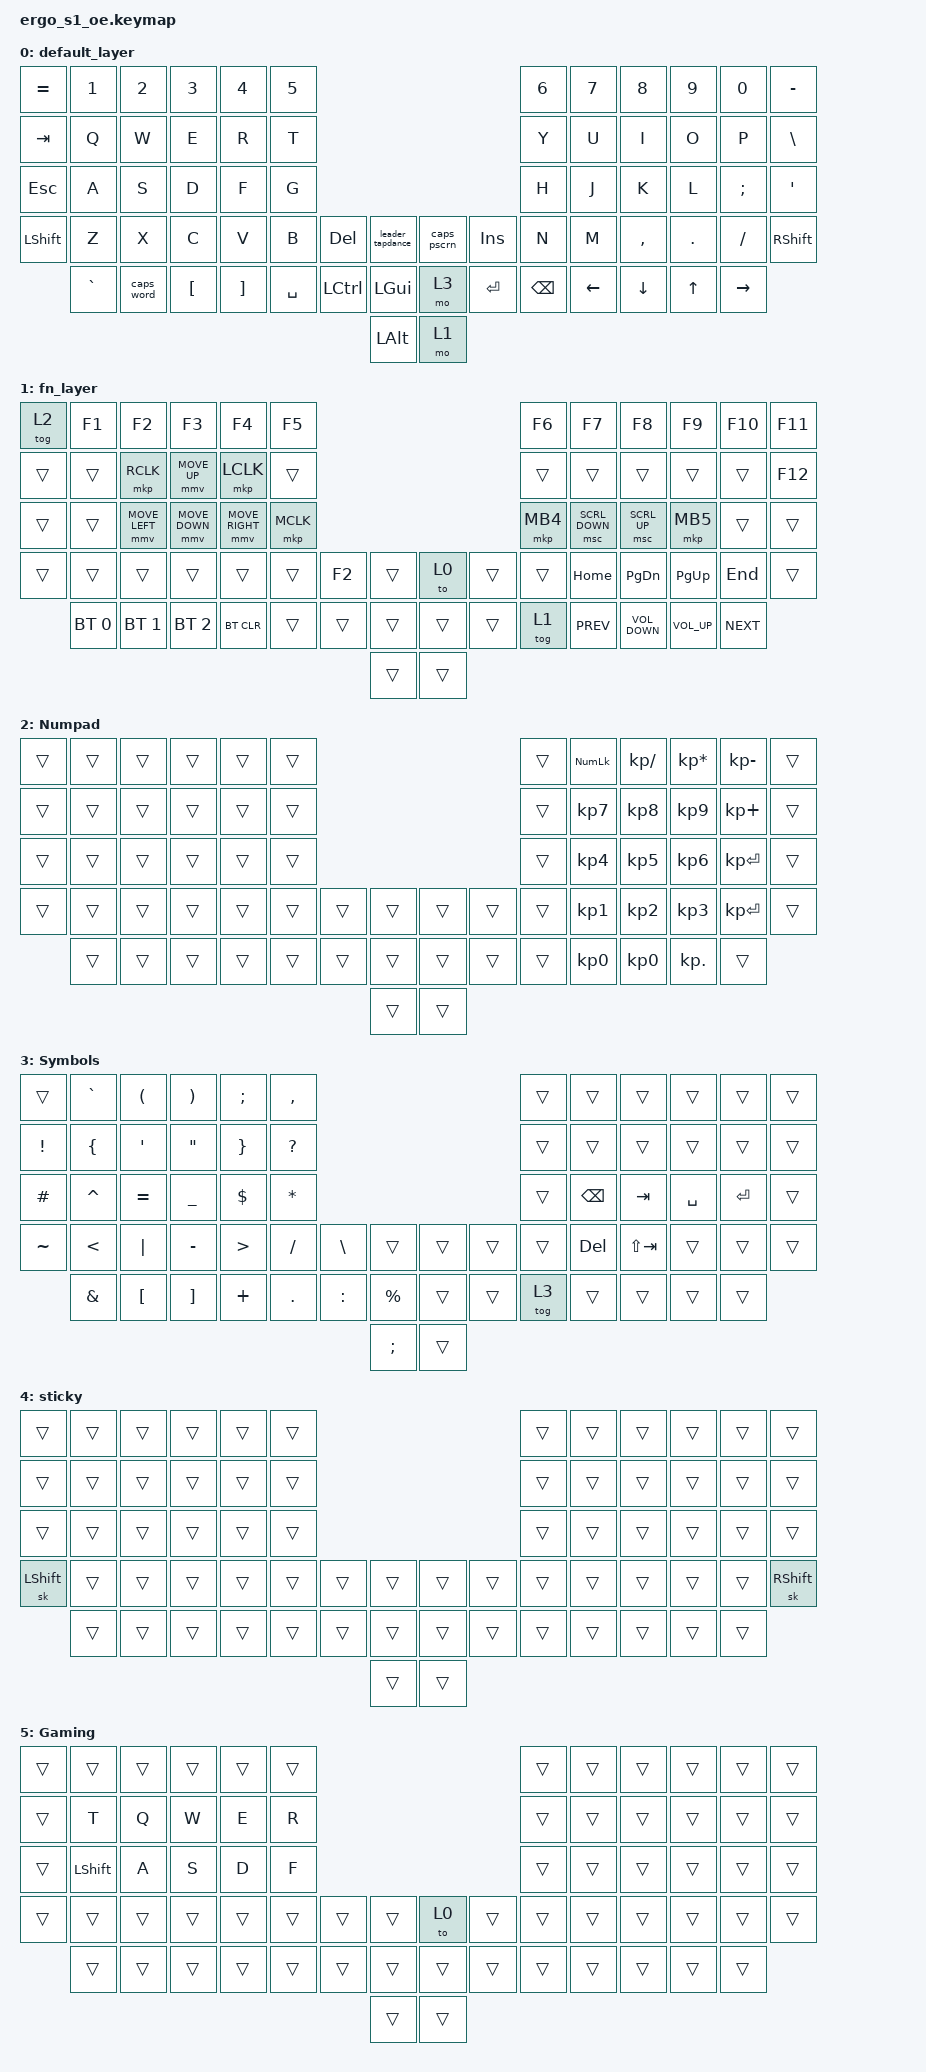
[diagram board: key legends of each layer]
/*
 * Copyright (c) 2021 The ZMK Contributors
 *
 * SPDX-License-Identifier: MIT
 */
//#include "leader.dtsi"

#define ZMK_POINTING_DEFAULT_MOVE_VAL 1500  // default: 600
#define ZMK_POINTING_DEFAULT_SCRL_VAL 20    // default: 10
#define DEFAULT 0
#define FN  1

#include <behaviors.dtsi>
#include <dt-bindings/zmk/bt.h>
#include <dt-bindings/zmk/keys.h>
#include <dt-bindings/zmk/pointing.h>
#include <dt-bindings/zmk/outputs.h>
#include "zmk-helpers/helper.h"

&sl {
    ignore-modifiers;
    release-after-ms = <5000>;
};

/ {
    macros {
        cdot: cdot {
            compatible = "zmk,behavior-macro";
            #binding-cells = <0>;
            bindings =
                <&macro_press>,
                <&kp LEFT_ALT>,
                <&macro_tap>,
                <&kp KP_NUMBER_2 &kp KP_NUMBER_5 &kp KP_NUMBER_0>,
                <&macro_release>,
                <&kp LEFT_ALT>;

            label = "CDOT";
        };

        mc_reload_pack: mc_reload_pack {
            compatible = "zmk,behavior-macro";
            #binding-cells = <0>;
            bindings =
                <&macro_press>,
                <&kp F3>,
                <&macro_tap>,
                <&kp T>,
                <&macro_release>,
                <&kp F3>;

            label = "Reload Resource Packs";
        };
    };

    behaviors {
        caps_pscrn: caps_pscrn {
            compatible = "zmk,behavior-tap-dance";
            label = "CAPS_PSCRN";
            #binding-cells = <0>;
            bindings = <&kp CAPS>, <&kp PRINTSCREEN>;

            tapping-term-ms = <200>;
        };

        leader: leader {
            compatible = "zmk,behavior-leader-key";
            #binding-cells = <0>;

            usb {
                sequence = <U S B>;
                bindings = <&out OUT_USB>;
            };

            ble {
                sequence = <B L E>;
                bindings = <&out OUT_BLE>;
            };

            bt0 {
                sequence = <B T N0>;
                bindings = <&bt BT_SEL 0>;
            };

            bt1 {
                sequence = <B T N1>;
                bindings = <&bt BT_SEL 1>;
            };

            bt2 {
                sequence = <B T N2>;
                bindings = <&bt BT_SEL 2>;
            };

            bt3 {
                sequence = <B T N3>;
                bindings = <&bt BT_SEL 3>;
            };

            bt4 {
                sequence = <B T N4>;
                bindings = <&bt BT_SEL 4>;
            };

            btc {
                sequence = <B T C L E A R>;
                bindings = <&bt BT_CLR>;
            };

            boot {
                sequence = <B O O T>;
                bindings = <&bootloader>;
            };

            reset {
                sequence = <R E S E T>;
                bindings = <&sys_reset>;
            };

            toggle_fn {
                sequence = <N1>;
                bindings = <&tog 1>;
            };  // Toggle function layer
            toggle_game {
                sequence = <G A M E>;
                bindings = <&tog 5>;
            };  // Toggle Gaming layer
            toggle_num {
                sequence = <N2>;
                bindings = <&tog 2>;
            };  // Toggle numpad layer
            toggle_stick {
                sequence = <S T I C K>;
                bindings = <&tog 4>;
            };  // Toggle sticky layer
            rename {
                sequence = <DELETE>;
                bindings = <&kp F2>;
            };  // Leader + DELETE outputs F2
            reload_resourcepack {
                sequence = <M C R>;
                bindings = <&mc_reload_pack>;
            };  // Reload Minecraft Resource Pack
        };

        leader_tapdance: leader_tapdance {
            compatible = "zmk,behavior-tap-dance";
            label = "LEADER_TAPDANCE";
            #binding-cells = <0>;
            bindings = <&leader>, <&to 0>;
        };
    };

    combos {
        compatible = "zmk,combos";

        Softoff {
            bindings = <&soft_off>;
            key-positions = <43 44>;
        };
    };

    keymap {
        compatible = "zmk,keymap";

        default_layer {
            // ---------------------------------------------------------------------------------------------------------------------------------
            // | ESC  |  1   |  2   |  3   |  4   |  5   |                                                   |  6   |  7   |  8   |  9   |  0   | BSPC |
            // | WIN  |  Q   |  W   |  E   |  R   |  T   |                                                   |  Y   |  U   |  I   |  O   |  P   | EQL  |
            // | TAB  |  A   |  S   |  D   |  F   |  G   |                                                   |  H   |  J   |  K   |  L   | SCLN | QUOT |
            // | LCTL |  Z   |  X   |  C   |  V   |  B   |      | CTL  | ALT  |         | CAPS | CTL  |      |  N   |  M   | COMM | DOT  | SLSH | MINS |
            //        | GRV  | BSLS | LEFT | RGHT |      | SHFT |  FN  | HOME |         | PGUP | ENT  | SPC  |      |  UP  |  DN  | LBKT | RBKT |
            //                                                         | END  |         | PGDN |

            bindings = <
&kp EQUAL  &kp N1     &kp N2      &kp N3    &kp N4    &kp N5                                                           &kp N6         &kp N7    &kp N8     &kp N9      &kp N0     &kp MINUS
&kp TAB    &kp Q      &kp W       &kp E     &kp R     &kp T                                                            &kp Y          &kp U     &kp I      &kp O       &kp P      &kp BSLH
&kp ESC    &kp A      &kp S       &kp D     &kp F     &kp G                                                            &kp H          &kp J     &kp K      &kp L       &kp SEMI   &kp APOS
&kp LSHFT  &kp Z      &kp X       &kp C     &kp V     &kp B      &kp DEL    &leader_tapdance  &caps_pscrn  &kp INSERT  &kp N          &kp M     &kp COMMA  &kp PERIOD  &kp SLASH  &kp RIGHT_SHIFT
           &kp GRAVE  &caps_word  &kp LBKT  &kp RBKT  &kp SPACE  &kp LCTRL  &kp LEFT_GUI      &mo 3        &kp ENTER   &kp BACKSPACE  &kp LEFT  &kp DOWN   &kp UP      &kp RIGHT
                                                                            &kp LALT          &mo 1
            >;
        };

        fn_layer {
            // ---------------------------------------------------------------------------------------------------------------------------------
            // |BT_CLR|  F1  |  F2  |  F3  |  F4  |  F5  |                                                   |      | NLCK |  =   |  /   |  *   |      |
            // |      |  F6  |  F7  |  F8  |  F9  |  F10 |                                                   |      |  7   |  8   |  9   |  -   |      |
            // |      |      |      |      |      |      |                                                   |      |  4   |  5   |  6   |  +   |      |
            // |      |      |      |      |      | PTSC |      |      |      |         |      |      |      |      |  1   |  2   |  3   | ENT  |      |
            //        |      | INS  |      |      |      |      |  FN  |      |         |      |      |      |      |      |      |  .   | ENT  |
            //                                                         |      |         |      |

            bindings = <
&tog 2  &kp F1        &kp F2          &kp F3          &kp F4           &kp F5                                     &kp F6    &kp F7          &kp F8             &kp F9        &kp F10     &kp F11
&trans  &trans        &mkp RCLK       &mmv MOVE_UP    &mkp LCLK        &trans                                     &trans    &trans          &trans             &trans        &trans      &kp F12
&trans  &trans        &mmv MOVE_LEFT  &mmv MOVE_DOWN  &mmv MOVE_RIGHT  &mkp MCLK                                  &mkp MB4  &msc SCRL_DOWN  &msc SCRL_UP       &mkp MB5      &trans      &trans
&trans  &trans        &trans          &trans          &trans           &trans     &kp F2  &trans  &to 0   &trans  &trans    &kp HOME        &kp PAGE_DOWN      &kp PG_UP     &kp END     &trans
        &bt BT_SEL 0  &bt BT_SEL 1    &bt BT_SEL 2    &bt BT_CLR       &trans     &trans  &trans  &trans  &trans  &tog 1    &kp C_PREV      &kp C_VOLUME_DOWN  &kp C_VOL_UP  &kp C_NEXT
                                                                                          &trans  &trans
            >;
        };

        Numpad {
            bindings = <
&trans  &trans  &trans  &trans  &trans  &trans                                  &trans  &kp KP_NUMLOCK  &kp KP_SLASH     &kp KP_ASTERISK  &kp KP_SUBTRACT  &trans
&trans  &trans  &trans  &trans  &trans  &trans                                  &trans  &kp KP_N7       &kp KP_N8        &kp KP_N9        &kp KP_PLUS      &trans
&trans  &trans  &trans  &trans  &trans  &trans                                  &trans  &kp KP_N4       &kp KP_N5        &kp KP_N6        &kp KP_ENTER     &trans
&trans  &trans  &trans  &trans  &trans  &trans  &trans  &trans  &trans  &trans  &trans  &kp KP_N1       &kp KP_N2        &kp KP_N3        &kp KP_ENTER     &trans
        &trans  &trans  &trans  &trans  &trans  &trans  &trans  &trans  &trans  &trans  &kp KP_N0       &kp KP_NUMBER_0  &kp KP_DOT       &trans
                                                        &trans  &trans
            >;
        };

        Symbols {
            bindings = <
&trans     &kp GRAVE       &kp LEFT_PARENTHESIS  &kp RIGHT_PARENTHESIS  &kp SEMI          &kp COMMA                                                   &trans  &trans         &trans       &trans     &trans     &trans
&kp EXCL   &kp LEFT_BRACE  &kp SINGLE_QUOTE      &kp DOUBLE_QUOTES      &kp RIGHT_BRACE   &kp QUESTION                                                &trans  &trans         &trans       &trans     &trans     &trans
&kp HASH   &kp CARET       &kp EQUAL             &kp UNDERSCORE         &kp DOLLAR        &kp STAR                                                    &trans  &kp BACKSPACE  &kp TAB      &kp SPACE  &kp ENTER  &trans
&kp TILDE  &kp LESS_THAN   &kp PIPE              &kp MINUS              &kp GREATER_THAN  &kp SLASH     &kp BACKSLASH  &trans         &trans  &trans  &trans  &kp DELETE     &kp LS(TAB)  &trans     &trans     &trans
           &kp AMPERSAND   &kp LEFT_BRACKET      &kp RIGHT_BRACKET      &kp PLUS          &kp DOT       &kp COLON      &kp PERCENT    &trans  &trans  &tog 3  &trans         &trans       &trans     &trans
                                                                                                                       &kp SEMICOLON  &trans
            >;
        };

        sticky {
            bindings = <
&trans          &trans  &trans  &trans  &trans  &trans                                  &trans  &trans  &trans  &trans  &trans  &trans
&trans          &trans  &trans  &trans  &trans  &trans                                  &trans  &trans  &trans  &trans  &trans  &trans
&trans          &trans  &trans  &trans  &trans  &trans                                  &trans  &trans  &trans  &trans  &trans  &trans
&sk LEFT_SHIFT  &trans  &trans  &trans  &trans  &trans  &trans  &trans  &trans  &trans  &trans  &trans  &trans  &trans  &trans  &sk RSHIFT
                &trans  &trans  &trans  &trans  &trans  &trans  &trans  &trans  &trans  &trans  &trans  &trans  &trans  &trans
                                                                &trans  &trans
            >;
        };

        Gaming {
            bindings = <
&trans  &trans          &trans  &trans  &trans  &trans                                  &trans  &trans  &trans  &trans  &trans  &trans
&trans  &kp T           &kp Q   &kp W   &kp E   &kp R                                   &trans  &trans  &trans  &trans  &trans  &trans
&trans  &kp LEFT_SHIFT  &kp A   &kp S   &kp D   &kp F                                   &trans  &trans  &trans  &trans  &trans  &trans
&trans  &trans          &trans  &trans  &trans  &trans  &trans  &trans  &to 0   &trans  &trans  &trans  &trans  &trans  &trans  &trans
        &trans          &trans  &trans  &trans  &trans  &trans  &trans  &trans  &trans  &trans  &trans  &trans  &trans  &trans
                                                                &trans  &trans
            >;
        };
    };
};
